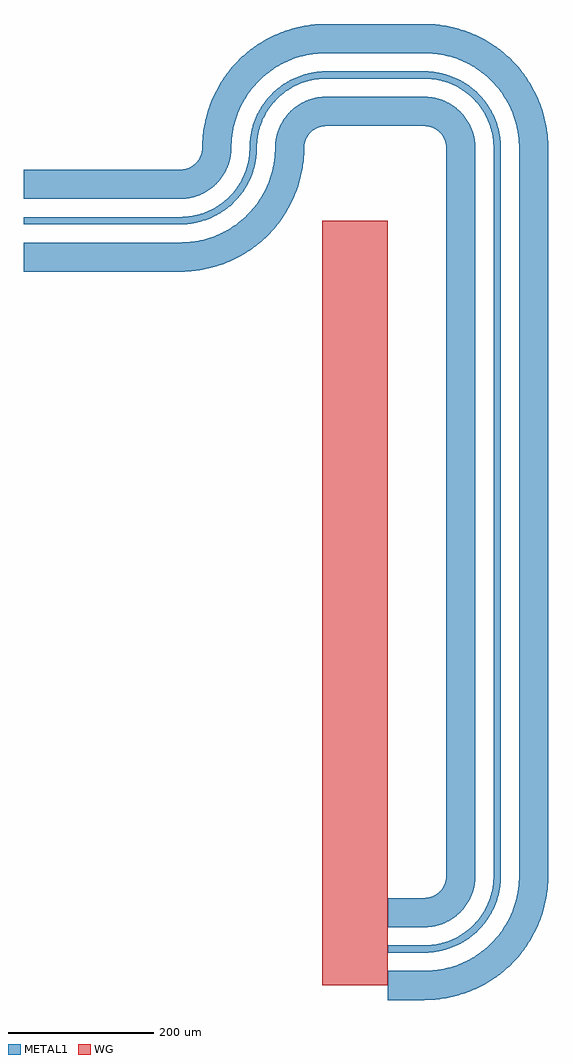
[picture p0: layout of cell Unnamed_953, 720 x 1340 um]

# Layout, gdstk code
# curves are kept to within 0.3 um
from math import pi, radians
import gdstk
lib = gdstk.Library(unit=1e-6, precision=1e-09)
def R(c, l, rs):  # rectangles x0, y0, x1, y1
    for r in rs: c.add(gdstk.rectangle(r[:2], r[2:], *l))
def P(c, l, *ps):  # polygons
    for p in ps: c.add(gdstk.Polygon(p, *l))
WG = (1, 0)
METAL1 = (20, 0)

bend_circular_w40_r50_lm = lib.new_cell('bend_circular_W40_R50_LMETAL1_EM1_A90_AS1')
P(bend_circular_w40_r50_lm, METAL1, [(0,-20),(0,20),(5.788,20.564),(11.358,22.233),(16.502,24.946),(21.025,28.6),(25.054,33.498),(27.767,38.642),(29.436,44.212),(30,50),(70,50),(69.728,43.831),(68.685,36.495),(66.873,29.311),(64.789,23.498),(61.625,16.798),(58.459,11.496),(54.062,5.533),(49.932,0.941),(45.414,-3.269),(39.53,-7.77),(33.202,-11.625),(27.642,-14.311),(20.689,-16.873),(14.715,-18.436),(7.399,-19.608)])

bend_circular_w40_r150_l = lib.new_cell('bend_circular_W40_R150_LMETAL1_EM1_A90_AS1')
P(bend_circular_w40_r150_l, METAL1, [(0,-20),(0,20),(11.457,20.506),(20.563,21.637),(31.796,23.948),(42.782,27.241),(53.434,31.489),(61.661,35.554),(69.58,40.188),(78.987,46.748),(89.458,55.675),(100.4,67.418),(109.812,80.42),(116.551,92.417),(122.759,107.218),(126.593,120.434),(129.272,136.259),(130,150),(170,150),(169.048,132.031),(166.806,117.203),(163.267,102.629),(157.345,85.637),(149.661,69.367),(141.972,56.491),(131.293,42.008),(121.264,30.857),(107.992,18.707),(96,9.701),(80.633,0.339),(67.129,-6.185),(50.245,-12.405),(32.797,-16.806),(17.969,-19.048)])

straight_w10000_l215001_ = lib.new_cell('straight_W10000_L215001_LMETAL1_EM1')
R(straight_w10000_l215001_, METAL1, [(0,-5,215.001,5)])

bend_circular_w10_r100_l = lib.new_cell('bend_circular_W10_R100_LMETAL1_EM1_A90_AS1')
P(bend_circular_w10_r100_l, METAL1, [(0,-5),(0,5),(10.041,5.532),(18.328,6.785),(28.078,9.244),(35.967,12.072),(45.06,16.366),(52.255,20.663),(59.044,25.577),(66.58,32.235),(72.293,38.366),(78.403,46.353),(82.826,53.471),(87.28,62.486),(90.756,71.922),(93.215,81.672),(94.468,89.959),(95,100),(105,100),(104.412,88.902),(103.027,79.743),(100.309,68.966),(97.184,60.247),(93.302,51.836),(87.688,42.244),(81.093,33.299),(74.899,26.412),(66.701,18.907),(59.294,13.344),(49.803,7.563),(39.753,2.816),(31.034,-0.309),(20.257,-3.027),(11.098,-4.412)])

straight_w10000_l134999_ = lib.new_cell('straight_W10000_L134999_LMETAL1_EM1')
R(straight_w10000_l134999_, METAL1, [(0,-5,134.999,5)])

straight_w40000_l50000_l = lib.new_cell('straight_W40000_L50000_LMETAL1_EM1')
R(straight_w40000_l50000_l, METAL1, [(0,-20,50,20)])

straight_w40000_l1000000 = lib.new_cell('straight_W40000_L1000000_LMETAL1_EM1')
R(straight_w40000_l1000000, METAL1, [(0,-20,1000,20)])

straight_w40000_l134999_ = lib.new_cell('straight_W40000_L134999_LMETAL1_EM1')
R(straight_w40000_l134999_, METAL1, [(0,-20,134.999,20)])

straight_w40000_l215001_ = lib.new_cell('straight_W40000_L215001_LMETAL1_EM1')
R(straight_w40000_l215001_, METAL1, [(0,-20,215.001,20)])

straight_w10000_l50000_l = lib.new_cell('straight_W10000_L50000_LMETAL1_EM1')
R(straight_w10000_l50000_l, METAL1, [(0,-5,50,5)])

straight_w10000_l1000000 = lib.new_cell('straight_W10000_L1000000_LMETAL1_EM1')
R(straight_w10000_l1000000, METAL1, [(0,-5,1000,5)])

unnamed_953 = lib.new_cell('Unnamed_953')
R(unnamed_953, WG, [(-90,-50,0,1000)])
unnamed_953.add(gdstk.Reference(bend_circular_w40_r50_lm, (-284.999,1050)))
unnamed_953.add(gdstk.Reference(bend_circular_w40_r150_l, (-234.999,1100), rotation=pi/2, x_reflection=True))
unnamed_953.add(gdstk.Reference(bend_circular_w40_r150_l, (200,100), rotation=3*pi/2, x_reflection=True))
unnamed_953.add(gdstk.Reference(straight_w10000_l215001_, (-284.999,1000), rotation=pi))
unnamed_953.add(gdstk.Reference(bend_circular_w10_r100_l, (-284.999,1000)))
unnamed_953.add(gdstk.Reference(straight_w10000_l134999_, (-84.999,1200), x_reflection=True))
unnamed_953.add(gdstk.Reference(straight_w40000_l50000_l, (50,-50), rotation=pi, x_reflection=True))
unnamed_953.add(gdstk.Reference(straight_w40000_l50000_l, (50,50), rotation=pi, x_reflection=True))
unnamed_953.add(gdstk.Reference(straight_w40000_l1000000, (100,1100), rotation=3*pi/2, x_reflection=True))
unnamed_953.add(gdstk.Reference(straight_w40000_l1000000, (200,1100), rotation=3*pi/2, x_reflection=True))
unnamed_953.add(gdstk.Reference(bend_circular_w40_r150_l, (50,1250), x_reflection=True))
unnamed_953.add(gdstk.Reference(bend_circular_w40_r50_lm, (-134.999,1100), rotation=pi/2, x_reflection=True))
unnamed_953.add(gdstk.Reference(bend_circular_w40_r50_lm, (50,1150), x_reflection=True))
unnamed_953.add(gdstk.Reference(bend_circular_w10_r100_l, (150,100), rotation=3*pi/2, x_reflection=True))
unnamed_953.add(gdstk.Reference(straight_w40000_l134999_, (-84.999,1150), x_reflection=True))
unnamed_953.add(gdstk.Reference(straight_w40000_l134999_, (-84.999,1250), x_reflection=True))
unnamed_953.add(gdstk.Reference(bend_circular_w10_r100_l, (50,1200), x_reflection=True))
unnamed_953.add(gdstk.Reference(bend_circular_w40_r150_l, (-284.999,950)))
unnamed_953.add(gdstk.Reference(straight_w40000_l215001_, (-284.999,950), rotation=pi))
unnamed_953.add(gdstk.Reference(straight_w40000_l215001_, (-284.999,1050), rotation=pi))
unnamed_953.add(gdstk.Reference(straight_w10000_l50000_l, (50,0), rotation=pi, x_reflection=True))
unnamed_953.add(gdstk.Reference(bend_circular_w40_r50_lm, (100,100), rotation=3*pi/2, x_reflection=True))
unnamed_953.add(gdstk.Reference(straight_w10000_l1000000, (150,1100), rotation=3*pi/2, x_reflection=True))
unnamed_953.add(gdstk.Reference(bend_circular_w10_r100_l, (-184.999,1100), rotation=pi/2, x_reflection=True))

lib.write_gds('Unnamed_953.gds')
